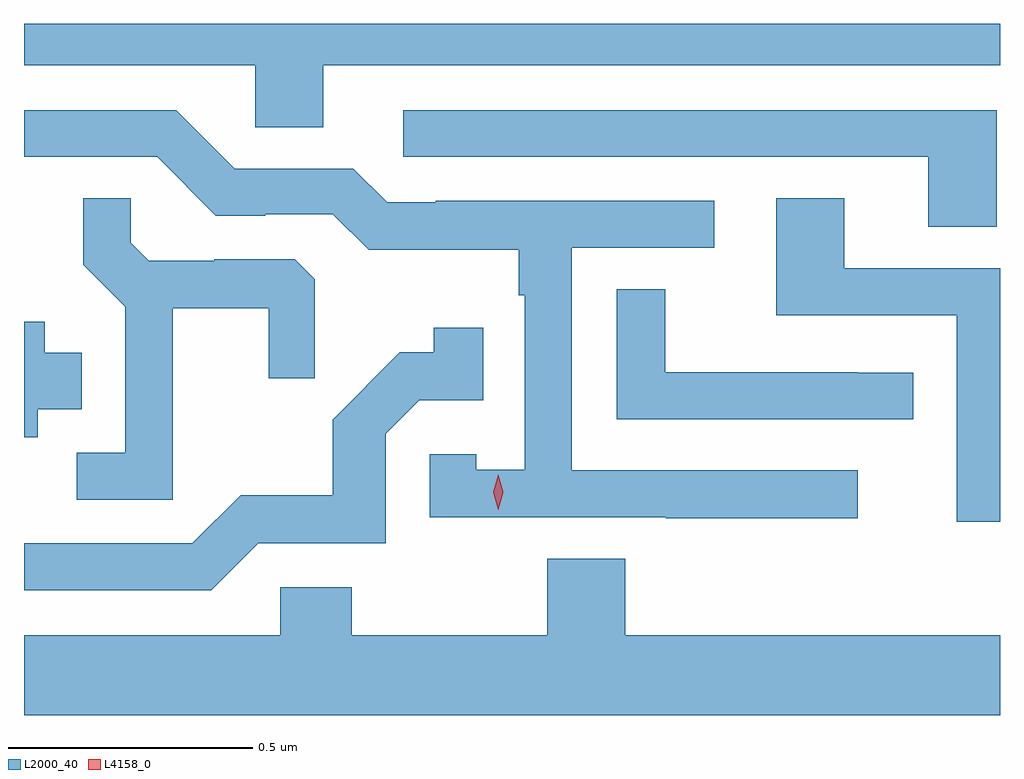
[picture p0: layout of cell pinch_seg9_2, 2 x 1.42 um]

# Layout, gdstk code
import gdstk
lib = gdstk.Library(unit=1e-6, precision=1e-09)
def P(c, l, *ps):  # polygons
    for p in ps: c.add(gdstk.Polygon(p, *l))
L2000_40 = (2000, 40)
L4158_0 = (4158, 0)

pinch_seg9_2 = lib.new_cell('pinch_seg9_2')
P(pinch_seg9_2, L2000_40, [(1059.865,1236.38),(1061.252,1236.38),(1061.252,1236.465),(1059.252,1236.465),(1059.252,1236.38),(1059.726,1236.38),(1059.726,1236.253),(1059.865,1236.253)],
  [(1061.245,1236.288),(1060.029,1236.288),(1060.029,1236.192),(1061.105,1236.192),(1061.105,1236.049),(1061.245,1236.049)],
  [(1060.96,1235.55),(1060.374,1235.55),(1060.374,1236.006),(1060.666,1236.006),(1060.666,1236.102),(1060.096,1236.102),(1060.096,1236.099),(1059.996,1236.099),(1059.927,1236.168),(1059.684,1236.168),(1059.564,1236.288),(1059.252,1236.288),(1059.252,1236.192),(1059.525,1236.192),(1059.645,1236.072),(1059.746,1236.072),(1059.746,1236.075),(1059.885,1236.075),(1059.958,1236.002),(1060.266,1236.002),(1060.266,1235.909),(1060.278,1235.909),(1060.278,1235.551),(1060.179,1235.551),(1060.179,1235.583),(1060.083,1235.583),(1060.083,1235.454),(1060.567,1235.454),(1060.567,1235.452),(1060.96,1235.452)],
  [(1061.252,1235.964),(1060.933,1235.964),(1060.933,1236.107),(1060.793,1236.107),(1060.793,1235.868),(1061.163,1235.868),(1061.163,1235.445),(1061.252,1235.445)],
  [(1059.557,1235.882),(1059.754,1235.882),(1059.754,1235.739),(1059.848,1235.739),(1059.848,1235.941),(1059.807,1235.982),(1059.642,1235.982),(1059.642,1235.979),(1059.508,1235.979),(1059.471,1236.016),(1059.471,1236.107),(1059.373,1236.107),(1059.373,1235.971),(1059.459,1235.885),(1059.459,1235.586),(1059.36,1235.586),(1059.36,1235.49),(1059.557,1235.49)],
  [(1061.074,1235.75),(1060.961,1235.75),(1060.961,1235.751),(1060.566,1235.751),(1060.566,1235.921),(1060.467,1235.921),(1060.467,1235.655),(1061.074,1235.655)],
  [(1059.28,1235.675),(1059.37,1235.675),(1059.37,1235.791),(1059.295,1235.791),(1059.295,1235.854),(1059.252,1235.854),(1059.252,1235.618),(1059.28,1235.618)],
  [(1059.732,1235.4),(1059.993,1235.4),(1059.993,1235.625),(1060.062,1235.694),(1060.193,1235.694),(1060.193,1235.842),(1060.092,1235.842),(1060.092,1235.792),(1060.022,1235.792),(1059.885,1235.654),(1059.885,1235.499),(1059.696,1235.499),(1059.597,1235.4),(1059.252,1235.4),(1059.252,1235.304),(1059.636,1235.304)],
  [(1061.252,1235.212),(1060.484,1235.212),(1060.484,1235.369),(1060.324,1235.369),(1060.324,1235.212),(1059.924,1235.212),(1059.924,1235.31),(1059.777,1235.31),(1059.777,1235.212),(1059.252,1235.212),(1059.252,1235.048),(1061.252,1235.048)])
P(pinch_seg9_2, L4158_0, [(1060.224,1235.469),(1060.224,1235.469),(1060.214,1235.505),(1060.224,1235.541),(1060.224,1235.541),(1060.224,1235.541),(1060.234,1235.505),(1060.224,1235.469)])

lib.write_gds('pinch_seg9_2.gds')
